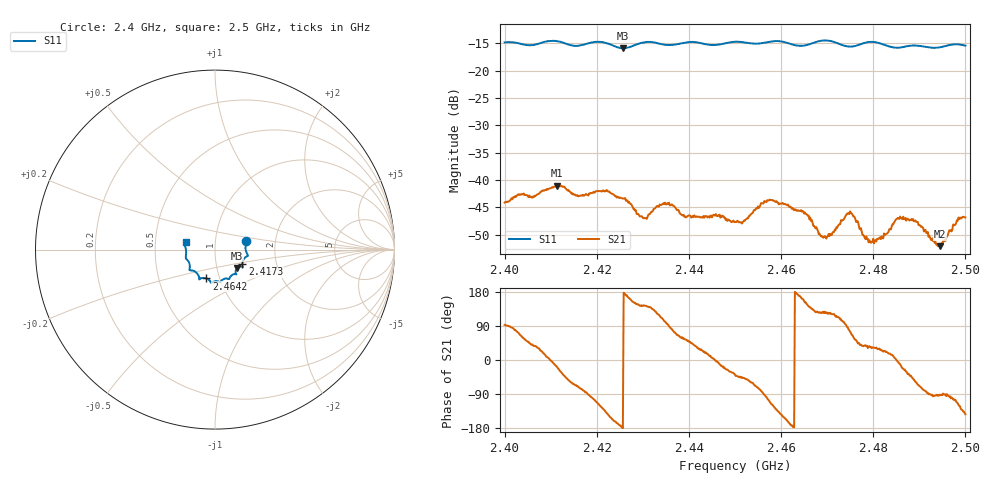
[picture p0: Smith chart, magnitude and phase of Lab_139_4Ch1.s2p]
# Hz S RI R 50
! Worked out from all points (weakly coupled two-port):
!   601 points, 2.4 GHz to 2.5 GHz, reference 50 ohm
!   highest |S21| = -41.01 dB at 2.4113 GHz (marker M1); lowest = -52.1 dB at 2.4945 GHz (marker M2)
!   lowest |S11| = -15.9 dB at 2.4257 GHz (marker M3), VSWR 1.38, Z = 62.4 - j13.1 ohm
!   |S11| at or under -10 dB: start of sweep to end of sweep
!   S12 and S22 are empty: the file has one direction only
!   S11 on the Smith chart (normalised r, x): 2.4 GHz: 1.41, +0.14; 2.4173 GHz: 1.34, -0.23; 2.4642 GHz: 0.86, -0.29; 2.5 GHz: 0.72, +0.06
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2.4e9  0.1737 0.0494  -0.000301 0.00622  0 0  0 0
2.411333e9  0.1822 -0.0352  0.00848 -0.00272  0 0  0 0
2.416667e9  0.1528 -0.0748  0.00172 -0.00703  0 0  0 0
2.417333e9  0.1523 -0.0823  0.000975 -0.00718  0 0  0 0
2.421833e9  0.1522 -0.0948  -0.00559 -0.00558  0 0  0 0
2.425667e9  0.1223 -0.1026  -0.00675 -1.24e-05  0 0  0 0
2.430333e9  0.1183 -0.1371  -0.00362 0.00265  0 0  0 0
2.433333e9  0.1125 -0.1365  -0.0029 0.00493  0 0  0 0
2.45e9  0.0293 -0.1808  0.00322 -0.0026  0 0  0 0
2.451833e9  0.0234 -0.1794  0.00285 -0.00306  0 0  0 0
2.4575e9  -0.0163 -0.1821  -0.00218 -0.00626  0 0  0 0
2.464167e9  -0.0483 -0.161  -0.00509 0.00112  0 0  0 0
2.466667e9  -0.0763 -0.1593  -0.00305 0.00305  0 0  0 0
2.4695e9  -0.0875 -0.1665  -0.00171 0.00255  0 0  0 0
2.474833e9  -0.1049 -0.1278  0.00102 0.00478  0 0  0 0
2.479167e9  -0.1414 -0.1153  0.00227 0.00167  0 0  0 0
2.483333e9  -0.1404 -0.0896  0.00324 0.001  0 0  0 0
2.485333e9  -0.146 -0.0688  0.0045 -0.000398  0 0  0 0
2.488667e9  -0.1621 -0.0479  0.00283 -0.00336  0 0  0 0
2.4945e9  -0.1629 0.00457  -7.34e-05 -0.00249  0 0  0 0
2.4985e9  -0.1699 0.0338  -0.00213 -0.00401  0 0  0 0
2.5e9  -0.1635 0.0416  -0.00365 -0.00273  0 0  0 0
